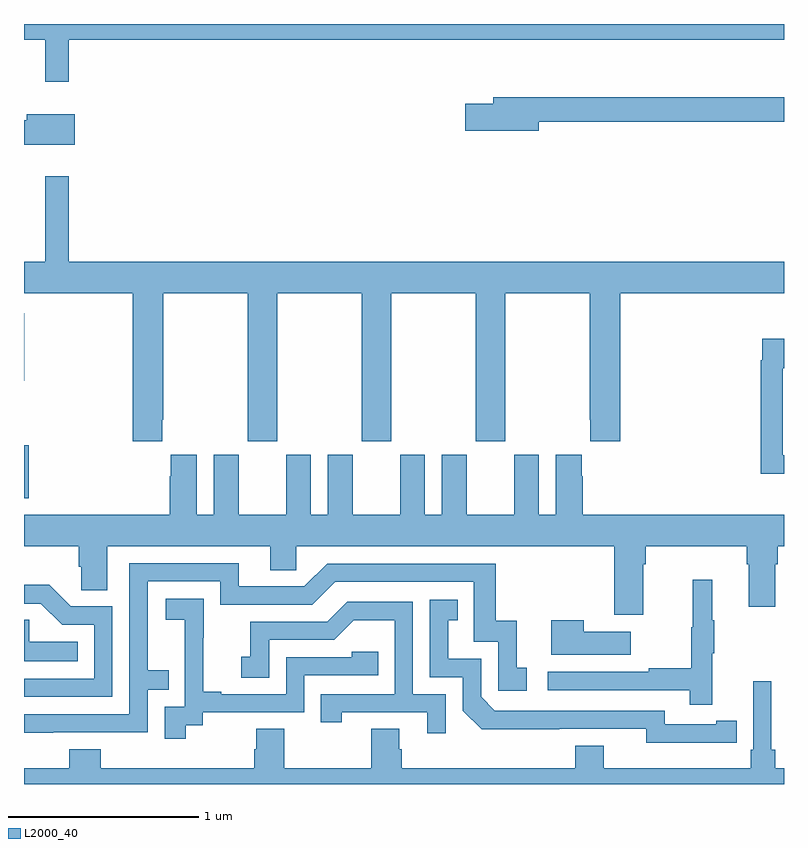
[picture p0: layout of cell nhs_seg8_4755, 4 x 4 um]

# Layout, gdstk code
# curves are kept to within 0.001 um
import gdstk
lib = gdstk.Library(unit=1e-6, precision=1e-09)
def R(c, l, rs):  # rectangles x0, y0, x1, y1
    for r in rs: c.add(gdstk.rectangle(r[:2], r[2:], *l))
def P(c, l, *ps):  # polygons
    for p in ps: c.add(gdstk.Polygon(p, *l))
L2000_40 = (2000, 40)

nhs_seg8_4755 = lib.new_cell('nhs_seg8_4755')
R(nhs_seg8_4755, L2000_40, [(399,1131.405,399.026,1131.684), (399,1132.022,399.002,1132.378)])
P(nhs_seg8_4755, L2000_40, [(399.235,1133.816),(403,1133.816),(403,1133.9),(399,1133.9),(399,1133.816),(399.113,1133.816),(399.113,1133.595),(399.235,1133.595)],
  [(401.71,1133.386),(403,1133.386),(403,1133.515),(401.471,1133.515),(401.471,1133.481),(401.322,1133.481),(401.322,1133.339),(401.71,1133.339)],
  [(399.268,1133.425),(399.014,1133.425),(399.014,1133.393),(399,1133.393),(399,1133.264),(399.268,1133.264)],
  [(399.727,1131.817),(399.732,1131.817),(399.732,1132.484),(400.177,1132.484),(400.177,1131.705),(400.332,1131.705),(400.332,1132.484),(400.777,1132.484),(400.777,1131.705),(400.932,1131.705),(400.932,1132.484),(401.377,1132.484),(401.377,1131.705),(401.532,1131.705),(401.532,1132.484),(401.977,1132.484),(401.977,1131.817),(401.981,1131.817),(401.981,1131.705),(402.137,1131.705),(402.137,1132.484),(403,1132.484),(403,1132.648),(399.235,1132.648),(399.235,1133.098),(399.113,1133.098),(399.113,1132.648),(399,1132.648),(399,1132.484),(399.572,1132.484),(399.572,1131.705),(399.727,1131.705)],
  [(403,1131.63),(402.993,1131.63),(402.993,1132.087),(403,1132.087),(403,1132.243),(402.885,1132.243),(402.885,1132.13),(402.877,1132.13),(402.877,1131.533),(403,1131.533)],
  [(402.259,1131.056),(402.272,1131.056),(402.272,1131.152),(402.803,1131.152),(402.803,1131.056),(402.815,1131.056),(402.815,1130.832),(402.955,1130.832),(402.955,1131.056),(402.968,1131.056),(402.968,1131.152),(403,1131.152),(403,1131.316),(401.942,1131.316),(401.942,1131.521),(401.935,1131.521),(401.935,1131.634),(401.798,1131.634),(401.798,1131.316),(401.71,1131.316),(401.71,1131.634),(401.579,1131.634),(401.579,1131.316),(401.329,1131.316),(401.329,1131.634),(401.198,1131.634),(401.198,1131.316),(401.11,1131.316),(401.11,1131.634),(400.979,1131.634),(400.979,1131.316),(400.729,1131.316),(400.729,1131.634),(400.598,1131.634),(400.598,1131.316),(400.51,1131.316),(400.51,1131.634),(400.379,1131.634),(400.379,1131.316),(400.129,1131.316),(400.129,1131.634),(399.998,1131.634),(399.998,1131.316),(399.91,1131.316),(399.91,1131.634),(399.773,1131.634),(399.773,1131.521),(399.767,1131.521),(399.767,1131.316),(399,1131.316),(399,1131.152),(399.287,1131.152),(399.287,1131.043),(399.3,1131.043),(399.3,1130.92),(399.439,1130.92),(399.439,1131.152),(400.295,1131.152),(400.295,1131.025),(400.434,1131.025),(400.434,1131.152),(402.107,1131.152),(402.107,1130.79),(402.259,1130.79)],
  [(399.155,1130.172),(399.651,1130.172),(399.651,1130.397),(399.761,1130.397),(399.761,1130.498),(399.651,1130.498),(399.651,1130.967),(400.032,1130.967),(400.032,1130.844),(400.518,1130.844),(400.638,1130.964),(401.367,1130.964),(401.367,1130.649),(401.496,1130.649),(401.496,1130.391),(401.647,1130.391),(401.647,1130.511),(401.594,1130.511),(401.594,1130.758),(401.483,1130.758),(401.483,1131.06),(400.596,1131.06),(400.476,1130.94),(400.129,1130.94),(400.129,1131.063),(399.555,1131.063),(399.555,1130.268),(399,1130.268),(399,1130.171)],
  [(402.623,1130.587),(402.634,1130.587),(402.634,1130.761),(402.623,1130.761),(402.623,1130.974),(402.52,1130.974),(402.52,1130.724),(402.513,1130.724),(402.513,1130.51),(402.289,1130.51),(402.289,1130.49),(401.757,1130.49),(401.757,1130.394),(402.505,1130.394),(402.505,1130.316),(402.623,1130.316)],
  [(399.465,1130.835),(399.246,1130.835),(399.133,1130.948),(399,1130.948),(399,1130.85),(399.089,1130.85),(399.2,1130.739),(399.369,1130.739),(399.369,1130.454),(399,1130.454),(399,1130.358),(399.465,1130.358)],
  [(399.85,1130.209),(399.942,1130.209),(399.942,1130.277),(400.476,1130.277),(400.476,1130.472),(400.865,1130.472),(400.865,1130.595),(400.725,1130.595),(400.725,1130.568),(400.38,1130.568),(400.38,1130.373),(400.039,1130.373),(400.039,1130.386),(399.944,1130.386),(399.944,1130.669),(399.945,1130.669),(399.945,1130.875),(399.747,1130.875),(399.747,1130.765),(399.845,1130.765),(399.845,1130.537),(399.846,1130.537),(399.846,1130.307),(399.741,1130.307),(399.741,1130.139),(399.85,1130.139)],
  [(402.644,1130.118),(402.752,1130.118),(402.752,1130.234),(402.644,1130.234),(402.644,1130.214),(402.372,1130.214),(402.372,1130.286),(401.478,1130.286),(401.406,1130.358),(401.406,1130.559),(401.233,1130.559),(401.233,1130.763),(401.282,1130.763),(401.282,1130.869),(401.136,1130.869),(401.136,1130.463),(401.31,1130.463),(401.31,1130.286),(401.408,1130.189),(402.276,1130.19),(402.276,1130.117)],
  [(401.22,1130.373),(401.046,1130.373),(401.046,1130.859),(400.7,1130.859),(400.595,1130.754),(400.192,1130.754),(400.192,1130.569),(400.143,1130.569),(400.143,1130.46),(400.29,1130.46),(400.29,1130.658),(400.632,1130.658),(400.736,1130.762),(400.95,1130.762),(400.95,1130.373),(400.561,1130.373),(400.561,1130.226),(400.672,1130.226),(400.672,1130.277),(401.123,1130.277),(401.123,1130.166),(401.22,1130.166)],
  [(399.284,1130.65),(399.027,1130.65),(399.027,1130.765),(399,1130.765),(399,1130.546),(399.284,1130.546)],
  [(402.193,1130.701),(401.945,1130.701),(401.945,1130.761),(401.774,1130.761),(401.774,1130.579),(402.193,1130.579)],
  [(403,1129.984),(402.953,1129.984),(402.953,1130.08),(402.934,1130.08),(402.934,1130.44),(402.837,1130.44),(402.837,1130.08),(402.824,1130.08),(402.824,1129.984),(402.052,1129.984),(402.052,1130.101),(401.9,1130.101),(401.9,1129.984),(400.988,1129.984),(400.988,1130.082),(400.975,1130.082),(400.975,1130.192),(400.828,1130.192),(400.828,1129.984),(400.371,1129.984),(400.371,1130.192),(400.223,1130.192),(400.223,1130.082),(400.211,1130.082),(400.211,1129.984),(399.404,1129.984),(399.404,1130.083),(399.239,1130.083),(399.239,1129.984),(399,1129.984),(399,1129.9),(403,1129.9)])

lib.write_gds('nhs_seg8_4755.gds')
